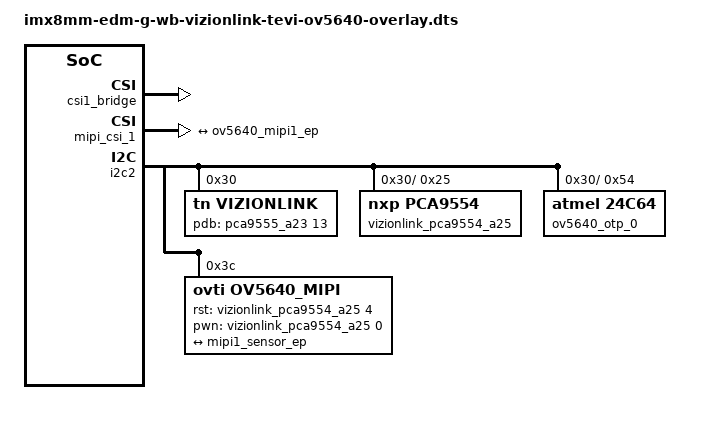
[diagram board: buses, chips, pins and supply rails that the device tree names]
// SPDX-License-Identifier: (GPL-2.0+ OR MIT)
/*
 * Copyright 2023 TechNexion Ltd.
 *

 */

/dts-v1/;
/plugin/;

#include <dt-bindings/interrupt-controller/irq.h>
#include <dt-bindings/clock/imx8mm-clock.h>
#include <dt-bindings/gpio/gpio.h>

/ {
	fragment@0 {
		target = <&csi1_bridge>;
		__overlay__ {
			status = "okay";
		};
	};

	fragment@1 {
		target = <&mipi_csi_1>;
		__overlay__ {
			status = "okay";
			#address-cells = <1>;
			#size-cells = <0>;

			port {
				mipi1_sensor_ep: endpoint@1 {
					remote-endpoint = <&ov5640_mipi1_ep>;
					data-lanes = <2>;
					csis-hs-settle = <13>;
					csis-clk-settle = <2>;
					csis-wclk;
				};
			};
		};
	};

	fragment@2 {
		target = <&i2c2>;
		__overlay__ {
			#address-cells = <1>;
			#size-cells = <0>;

			vizionlink: vizionlink@30 {
				compatible = "tn,vizionlink";
				reg = <0x30>;
				pdb-gpios = <&pca9555_a23 13 GPIO_ACTIVE_HIGH>;
				ser_alias_id = <0x1b>;

				//i2c addr alias map "gpio extender, eeprom , sensor"
				i2c_addr_alias_map_local = <0x25 0x54 0x55 0x3d>;
				i2c_addr_alias_map_remote = <0x25 0x54 0x55 0x3d>;

				//deserializer output csi lanes 1~4. default 4
				des_csi_lanes = <2>;

				//1: Enable 0: Disable continuous clock. default 0
				des_csi_continuous_clock = <0>;

				//serializer input csi lanes 1~4. default 4
				ser_csi_lanes = <2>;

				//1: Enable 0: Disable continuous clock. default 0
				ser_csi_continuous_clock = <0>;

				status = "okay";

				i2c_dev_list {
					#address-cells = <1>;
					#size-cells = <0>;

					vizionlink_pca9554_a25: vizionlink_pca9554@25 {
						compatible = "nxp,pca9554";
						reg = <0x25>;
						gpio-controller;
						#gpio-cells = <2>;
						status = "okay";
					};

					ov5640_otp_0: eeprom@54 {
						compatible = "atmel,24c64";
						pagesize = <128>;
						reg = <0x54>;
					};
				};
			};

			ov5640_mipi: ov5640_mipi@3c {
				compatible = "ovti,ov5640_mipi";
				reg = <0x3c>;
				status = "okay";
				pinctrl-names = "default";
				pinctrl-0 = <&pinctrl_csi_rst>;
				clocks = <&clk IMX8MM_CLK_CLKO1>;
				clock-names = "csi_mclk";
				assigned-clocks = <&clk IMX8MM_CLK_CLKO1>;
				assigned-clock-parents = <&clk IMX8MM_CLK_24M>;
				assigned-clock-rates = <24000000>;
				csi_id = <0>;
				//pwn-gpios = <&pca9555_a21 2 GPIO_ACTIVE_HIGH>;
				//rst-gpios = <&gpio1 5 GPIO_ACTIVE_HIGH>;
				rst-gpios = <&vizionlink_pca9554_a25 4 GPIO_ACTIVE_HIGH>;
				pwn-gpios = <&vizionlink_pca9554_a25 0 GPIO_ACTIVE_HIGH>;
				mclk = <24000000>;
				mclk_source = <0>;
				nvmem = <&ov5640_otp_0>;
				nvmem-names = "calib-data";

				port {
					ov5640_mipi1_ep: endpoint {
						remote-endpoint = <&mipi1_sensor_ep>;
					};
				};
			};
		};
	};
};
